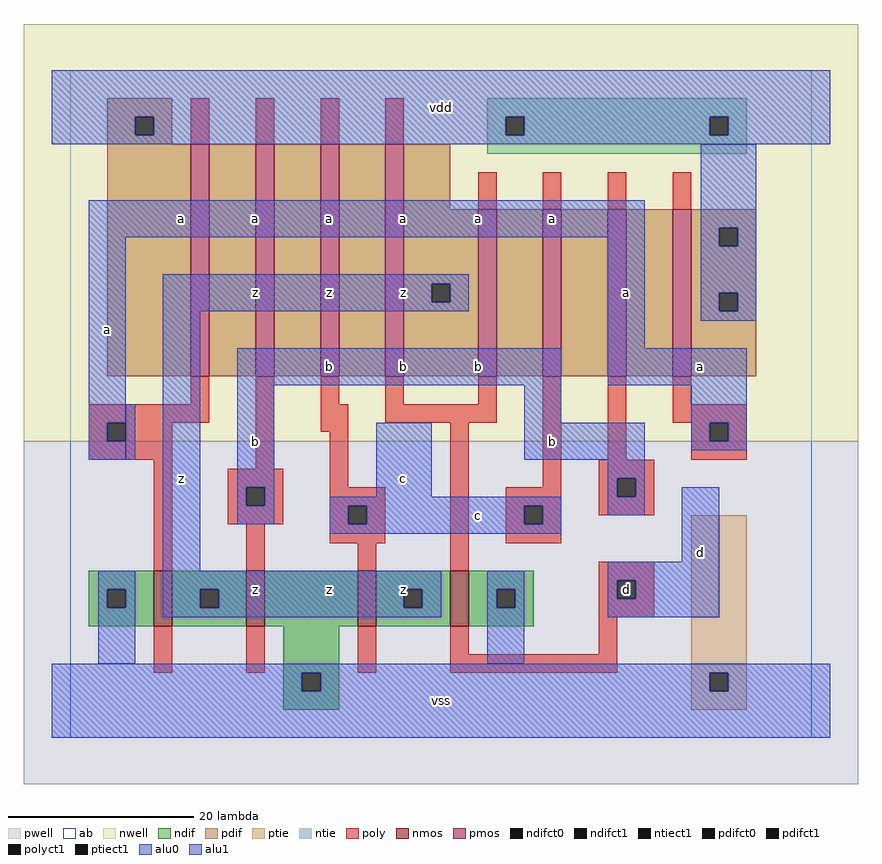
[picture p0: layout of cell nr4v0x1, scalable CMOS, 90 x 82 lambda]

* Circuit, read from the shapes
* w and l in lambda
.subckt nr4v0x1 a b c d vdd vss z
M1 z a vss vss nfet w=6 l=2
M2 vss b z vss nfet w=6 l=2
M3 z c vss vss nfet w=6 l=2
M4 vss d z vss nfet w=6 l=2
M5 n1 a vdd vdd pfet w=25 l=2
M6 n2 b n1 vdd pfet w=25 l=2
M7 n3 c n2 vdd pfet w=25 l=2
M8 z d n3 vdd pfet w=25 l=2
M9 n4 d z vdd pfet w=18 l=2
M10 n5 c n4 vdd pfet w=18 l=2
M11 n6 b n5 vdd pfet w=18 l=2
M12 vdd a n6 vdd pfet w=18 l=2
.ends

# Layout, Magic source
magic
tech scmos
<< ab >>
rect 0 0 80 72
<< nwell >>
rect -5 32 85 77
<< pwell >>
rect -5 -5 85 32
<< poly >>
rect 13 64 15 69
rect 20 64 22 69
rect 27 64 29 69
rect 34 64 36 69
rect 44 57 46 61
rect 51 57 53 61
rect 58 57 60 61
rect 65 57 67 61
rect 13 36 15 39
rect 2 34 15 36
rect 2 32 4 34
rect 6 32 11 34
rect 2 30 11 32
rect 9 18 11 30
rect 20 29 22 39
rect 27 36 29 39
rect 34 36 36 39
rect 44 36 46 39
rect 27 33 30 36
rect 34 34 46 36
rect 17 27 23 29
rect 17 25 19 27
rect 21 25 23 27
rect 17 23 23 25
rect 28 27 30 33
rect 28 25 34 27
rect 28 23 30 25
rect 32 23 34 25
rect 19 18 21 23
rect 28 21 34 23
rect 31 18 33 21
rect 41 18 43 34
rect 51 27 53 39
rect 58 30 60 39
rect 65 36 67 39
rect 65 34 73 36
rect 67 32 69 34
rect 71 32 73 34
rect 67 30 73 32
rect 47 25 53 27
rect 47 23 49 25
rect 51 23 53 25
rect 57 28 63 30
rect 57 26 59 28
rect 61 26 63 28
rect 57 24 63 26
rect 47 21 53 23
rect 57 17 63 19
rect 57 15 59 17
rect 61 15 63 17
rect 57 13 63 15
rect 9 7 11 12
rect 19 7 21 12
rect 31 7 33 12
rect 41 9 43 12
rect 57 9 59 13
rect 41 7 59 9
<< ndif >>
rect 2 16 9 18
rect 2 14 4 16
rect 6 14 9 16
rect 2 12 9 14
rect 11 16 19 18
rect 11 14 14 16
rect 16 14 19 16
rect 11 12 19 14
rect 21 12 31 18
rect 33 16 41 18
rect 33 14 36 16
rect 38 14 41 16
rect 33 12 41 14
rect 43 16 50 18
rect 43 14 46 16
rect 48 14 50 16
rect 43 12 50 14
rect 23 7 29 12
rect 23 5 25 7
rect 27 5 29 7
rect 23 3 29 5
<< pdif >>
rect 4 67 11 69
rect 4 65 7 67
rect 9 65 11 67
rect 4 64 11 65
rect 4 39 13 64
rect 15 39 20 64
rect 22 39 27 64
rect 29 39 34 64
rect 36 57 41 64
rect 36 49 44 57
rect 36 47 39 49
rect 41 47 44 49
rect 36 39 44 47
rect 46 39 51 57
rect 53 39 58 57
rect 60 39 65 57
rect 67 55 74 57
rect 67 53 70 55
rect 72 53 74 55
rect 67 48 74 53
rect 67 46 70 48
rect 72 46 74 48
rect 67 39 74 46
<< alu1 >>
rect -2 67 82 72
rect -2 65 7 67
rect 9 65 47 67
rect 49 65 69 67
rect 71 65 82 67
rect -2 64 82 65
rect 2 54 62 58
rect 2 34 6 54
rect 10 49 43 50
rect 10 47 39 49
rect 41 47 43 49
rect 10 46 43 47
rect 2 32 4 34
rect 2 30 6 32
rect 10 18 14 46
rect 58 42 62 54
rect 18 38 53 42
rect 58 38 73 42
rect 18 27 22 38
rect 49 34 53 38
rect 67 34 73 38
rect 18 25 19 27
rect 21 25 22 27
rect 33 26 39 34
rect 49 30 62 34
rect 67 32 69 34
rect 71 32 73 34
rect 67 31 73 32
rect 58 28 62 30
rect 58 26 59 28
rect 61 26 62 28
rect 18 23 22 25
rect 28 25 53 26
rect 28 23 30 25
rect 32 23 49 25
rect 51 23 53 25
rect 58 24 62 26
rect 28 22 53 23
rect 66 19 70 27
rect 10 16 40 18
rect 10 14 14 16
rect 16 14 36 16
rect 38 14 40 16
rect 10 13 40 14
rect 58 17 70 19
rect 58 15 59 17
rect 61 15 70 17
rect 58 13 70 15
rect -2 7 82 8
rect -2 5 25 7
rect 27 5 69 7
rect 71 5 82 7
rect -2 0 82 5
<< ptie >>
rect 67 7 73 24
rect 67 5 69 7
rect 71 5 73 7
rect 67 3 73 5
<< ntie >>
rect 45 67 73 69
rect 45 65 47 67
rect 49 65 69 67
rect 71 65 73 67
rect 45 63 73 65
<< nmos >>
rect 9 12 11 18
rect 19 12 21 18
rect 31 12 33 18
rect 41 12 43 18
<< pmos >>
rect 13 39 15 64
rect 20 39 22 64
rect 27 39 29 64
rect 34 39 36 64
rect 44 39 46 57
rect 51 39 53 57
rect 58 39 60 57
rect 65 39 67 57
<< polyct1 >>
rect 4 32 6 34
rect 19 25 21 27
rect 30 23 32 25
rect 69 32 71 34
rect 49 23 51 25
rect 59 26 61 28
rect 59 15 61 17
<< ndifct0 >>
rect 4 14 6 16
rect 46 14 48 16
<< ndifct1 >>
rect 14 14 16 16
rect 36 14 38 16
rect 25 5 27 7
<< ntiect1 >>
rect 47 65 49 67
rect 69 65 71 67
<< ptiect1 >>
rect 69 5 71 7
<< pdifct0 >>
rect 70 53 72 55
rect 70 46 72 48
<< pdifct1 >>
rect 7 65 9 67
rect 39 47 41 49
<< alu0 >>
rect 6 30 7 36
rect 68 55 74 64
rect 68 53 70 55
rect 72 53 74 55
rect 68 48 74 53
rect 68 46 70 48
rect 72 46 74 48
rect 68 45 74 46
rect 3 16 7 18
rect 3 14 4 16
rect 6 14 7 16
rect 3 8 7 14
rect 45 16 49 18
rect 45 14 46 16
rect 48 14 49 16
rect 45 8 49 14
<< labels >>
rlabel alu1 4 44 4 44 6 a
rlabel alu1 28 16 28 16 6 z
rlabel alu1 20 16 20 16 6 z
rlabel alu1 20 32 20 32 6 b
rlabel alu1 12 28 12 28 6 z
rlabel alu1 28 40 28 40 6 b
rlabel alu1 28 48 28 48 6 z
rlabel alu1 20 48 20 48 6 z
rlabel alu1 28 56 28 56 6 a
rlabel alu1 20 56 20 56 6 a
rlabel alu1 12 56 12 56 6 a
rlabel alu1 40 4 40 4 6 vss
rlabel alu1 36 16 36 16 6 z
rlabel alu1 44 24 44 24 6 c
rlabel alu1 36 28 36 28 6 c
rlabel alu1 44 40 44 40 6 b
rlabel alu1 36 40 36 40 6 b
rlabel alu1 36 48 36 48 6 z
rlabel alu1 44 56 44 56 6 a
rlabel alu1 36 56 36 56 6 a
rlabel alu1 40 68 40 68 6 vdd
rlabel polyct1 60 16 60 16 6 d
rlabel alu1 52 32 52 32 6 b
rlabel alu1 60 48 60 48 6 a
rlabel alu1 52 56 52 56 6 a
rlabel alu1 68 20 68 20 6 d
rlabel alu1 68 40 68 40 6 a
<< end >>
